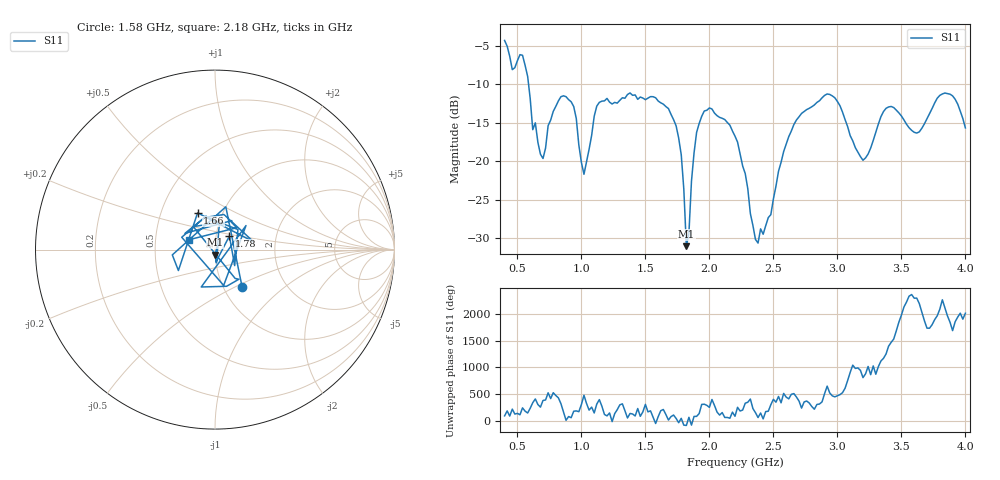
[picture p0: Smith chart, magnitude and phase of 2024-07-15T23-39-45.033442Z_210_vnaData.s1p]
!Created with skrf (http://scikit-rf.org).
# Hz S RI R 50.0
!freq ReS11 ImS11
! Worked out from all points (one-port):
!   181 points, 400 MHz to 4 GHz, reference 50 ohm
!   lowest |S11| = -31.0 dB at 1.82 GHz (marker M1), VSWR 1.06, Z = 49.9 - j2.81 ohm
!   |S11| at or under -10 dB: 587.1 MHz to end of sweep
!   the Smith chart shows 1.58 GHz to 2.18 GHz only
!   S11 on the Smith chart (normalised r, x): 1.58 GHz: 1.22, -0.55; 1.66 GHz: 0.76, +0.33; 1.78 GHz: 1.16, +0.18; 2.18 GHz: 0.74, +0.08
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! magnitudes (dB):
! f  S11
! 400 MHz  -4.3
! 460 MHz  -8.1
! 540 MHz  -6.2
! 620 MHz  -15.9
! 700 MHz  -19.6
! 860 MHz  -11.5
! 940 MHz  -12.9
! 1.02 GHz  -21.7
! 1.12 GHz  -12.8
! 1.3 GHz  -12.1
! 1.58 GHz  -11.8
! 1.66 GHz  -12.9
! 1.76 GHz  -17.0
! 1.78 GHz  -19.1
! 1.82 GHz  -31.0
! 1.88 GHz  -18.9
! 1.94 GHz  -14.2
! 2.18 GHz  -16.1
! 2.2 GHz  -16.7
! 2.38 GHz  -30.6
! 2.66 GHz  -15.2
! 2.94 GHz  -11.3
! 3.1 GHz  -16.7
! 3.2 GHz  -19.9
! 3.38 GHz  -13.1
! 3.56 GHz  -15.6
! 3.84 GHz  -11.1
! 4 GHz  -15.7
